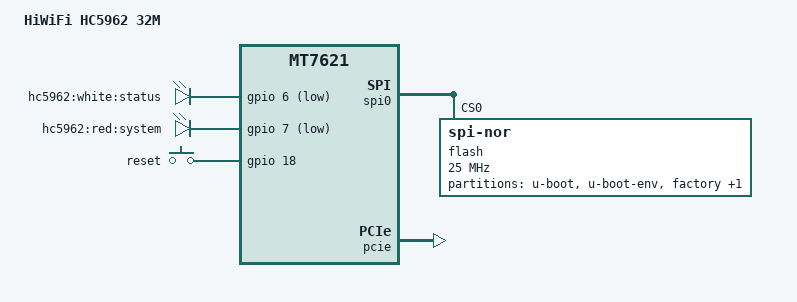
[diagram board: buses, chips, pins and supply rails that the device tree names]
/dts-v1/;

#include "mt7621.dtsi"

#include <dt-bindings/gpio/gpio.h>
#include <dt-bindings/input/input.h>

/ {
	compatible = "hiwifi,hc5962", "mediatek,mt7621-soc";
	model = "HiWiFi HC5962 32M";

	aliases {
		led-boot = &led_system;
		led-failsafe = &led_system;
		led-running = &led_status;
		led-upgrade = &led_status;
	};

	chosen {
		bootargs = "console=ttyS0,115200";
	};

	leds {
		compatible = "gpio-leds";

		led_status: status {
			label = "hc5962:white:status";
			gpios = <&gpio 6 GPIO_ACTIVE_LOW>;
		};

		led_system: system {
			label = "hc5962:red:system";
			gpios = <&gpio 7 GPIO_ACTIVE_LOW>;
			panic-indicator;
		};
	};

	keys {
		compatible = "gpio-keys";

		reset {
			label = "reset";
			gpios = <&gpio 18 GPIO_ACTIVE_HIGH>;
			linux,code = <KEY_RESTART>;
		};
	};
	ubi-concat {
		compatible = "mtd-concat";
		devices = <&ubipart0 &ubipart1>;

		partitions {
			compatible = "fixed-partitions";
			#address-cells = <1>;
			#size-cells = <1>;

			partition@340000 {
				label = "ubi";
				reg = <0x340000 0x4d00000>;
			};
		};
	};
};

&spi0 {
	status = "okay";

	flash: flash@0 {
		compatible = "jedec,spi-nor";
		reg = <0>;
		spi-max-frequency = <25000000>;
		broken-flash-reset;
		m25p,fast-read;
		broken-flash-reset;

		partitions {
			compatible = "fixed-partitions";
			#address-cells = <1>;
			#size-cells = <1>;

			partition@0 {
				label = "u-boot";
				reg = <0x0 0x30000>;
				read-only;
			};

			partition@30000 {
				label = "u-boot-env";
				reg = <0x30000 0x10000>;
				read-only;
			};

			factory: partition@40000 {
				label = "factory";
				reg = <0x40000 0x10000>;
				read-only;
			};

			firmware: partition@50000 {
				compatible = "denx,uimage";
				label = "firmware";
				reg = <0x50000 0x1f60000>;
			};
		};
	};
};

&pcie {
	status = "okay";
};

&pcie0 {
	mt76@0,0 {
		reg = <0x0000 0 0 0 0>;
		mediatek,mtd-eeprom = <&factory 0x0000>;
		ieee80211-freq-limit = <2400000 2500000>;
	};
};

&pcie1 {
	mt76@0,0 {
		reg = <0x0000 0 0 0 0>;
		mediatek,mtd-eeprom = <&factory 0x8000>;
		ieee80211-freq-limit = <5000000 6000000>;
	};
};

&ethernet {
	mtd-mac-address = <&factory 0xe000>;
};

&state_default {
	gpio {
		ralink,group = "uart3", "jtag";
		ralink,function = "gpio";
	};
};
